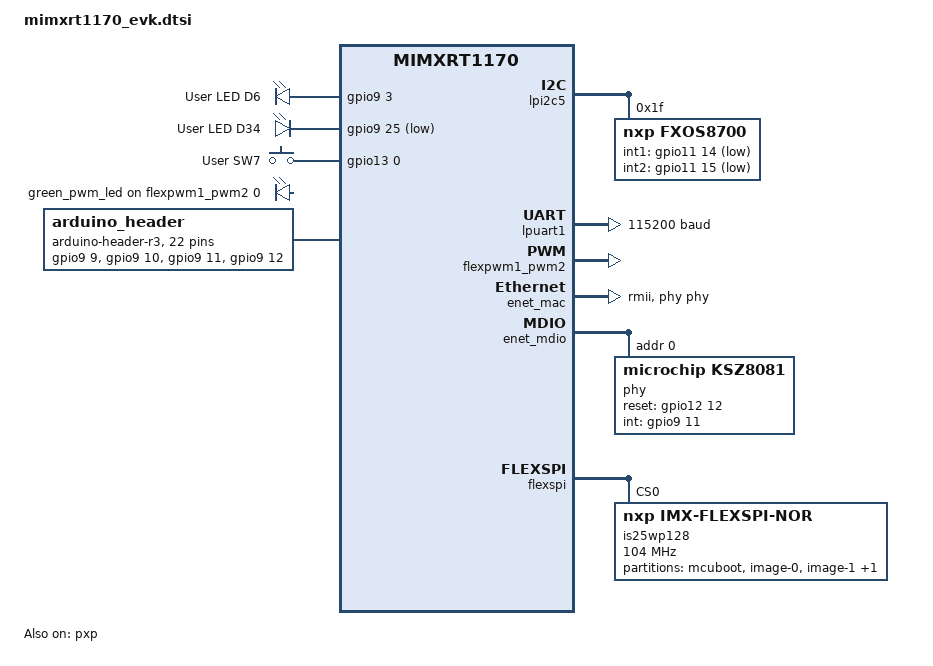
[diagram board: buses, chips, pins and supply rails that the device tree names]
/*
 * Copyright 2021,2023 NXP
 *
 * SPDX-License-Identifier: Apache-2.0
 */

#include "mimxrt1170_evk-pinctrl.dtsi"
#include <nxp/nxp_rt1170.dtsi>
#include <zephyr/dt-bindings/gpio/arduino-header-r3.h>
#include <zephyr/dt-bindings/input/input-event-codes.h>

/ {
	aliases {
		led0 = &green_led;
		led1 = &red_led;
		sw0 = &user_button;
		magn0 = &fxos8700;
		accel0 = &fxos8700;
		sdhc0 = &usdhc1;
		pwm-led0 = &green_pwm_led;
		mcuboot-button0 = &user_button;
	};

	leds {
		compatible = "gpio-leds";

		green_led: led-1 {
			gpios = <&gpio9 3 GPIO_ACTIVE_HIGH>;
			label = "User LED D6";
		};

		red_led: led-2 {
			gpios = <&gpio9 25 GPIO_ACTIVE_LOW>;
			label = "User LED D34";
		};
	};

	gpio_keys {
		compatible = "gpio-keys";

		user_button: button-1 {
			label = "User SW7";
			gpios = <&gpio13 0 GPIO_ACTIVE_HIGH>;
			zephyr,code = <INPUT_KEY_0>;
		};
	};

	pwmleds {
		compatible = "pwm-leds";

		green_pwm_led: green_pwm_led {
			pwms = <&flexpwm1_pwm2 0 PWM_MSEC(20) PWM_POLARITY_NORMAL>;
		};
	};

	arduino_header: connector {
		/* NOTE:
		 * The CM7 has no interrupt numbers for gpio9/gpio11/gpio12, so it isn't possible
		 * to use input interrupts with A0-A5 or D0-D15.
		 * The CM4 does support input interrupts.
		 */
		compatible = "arduino-header-r3";
		#gpio-cells = <2>;
		gpio-map-mask = <0xffffffff 0xffffffc0>;
		gpio-map-pass-thru = <0 0x3f>;
		gpio-map = <ARDUINO_HEADER_R3_A0 0 &gpio9 9 0>,
			   <ARDUINO_HEADER_R3_A1 0 &gpio9 10 0>,
			   <ARDUINO_HEADER_R3_A2 0 &gpio9 11 0>,
			   <ARDUINO_HEADER_R3_A3 0 &gpio9 12 0>,
			   <ARDUINO_HEADER_R3_A4 0 &gpio9 8 0>,
			   <ARDUINO_HEADER_R3_A5 0 &gpio9 7 0>,
			   <ARDUINO_HEADER_R3_D0 0 &gpio11 12 0>,
			   <ARDUINO_HEADER_R3_D1 0 &gpio11 11 0>,
			   <ARDUINO_HEADER_R3_D2 0 &gpio11 13 0>,
			   <ARDUINO_HEADER_R3_D3 0 &gpio9 3 0>,
			   <ARDUINO_HEADER_R3_D4 0 &gpio9 5 0>,
			   <ARDUINO_HEADER_R3_D5 0 &gpio9 4 0>,
			   <ARDUINO_HEADER_R3_D6 0 &gpio8 31 0>,
			   <ARDUINO_HEADER_R3_D7 0 &gpio9 13 0>,
			   <ARDUINO_HEADER_R3_D8 0 &gpio9 6 0>,
			   <ARDUINO_HEADER_R3_D9 0 &gpio9 0 0>,
			   <ARDUINO_HEADER_R3_D10 0 &gpio9 28 0>,
			   <ARDUINO_HEADER_R3_D11 0 &gpio9 29 0>,
			   <ARDUINO_HEADER_R3_D12 0 &gpio9 30 0>,
			   <ARDUINO_HEADER_R3_D13 0 &gpio9 27 0>,
			   <ARDUINO_HEADER_R3_D14 0 &gpio12 4 0>,
			   <ARDUINO_HEADER_R3_D15 0 &gpio12 5 0>;
	};
};

arduino_i2c: &lpi2c5 {
	status = "okay";
	pinctrl-0 = <&pinmux_lpi2c5>;
	pinctrl-names = "default";

	fxos8700: fxos8700@1f {
		compatible = "nxp,fxos8700";
		reg = <0x1f>;

		/* Two zero ohm resistors (R256 and R270) isolate sensor
		 * interrupt gpios from the soc and are unpopulated by default.
		 * Note that if you populate them, they conflict with camera and
		 * ethernet PHY reset signals.
		 */
		int1-gpios = <&gpio11 14 GPIO_ACTIVE_LOW>;
		int2-gpios = <&gpio11 15 GPIO_ACTIVE_LOW>;
	};
};

&lpuart1 {
	status = "okay";
	pinctrl-0 = <&pinmux_lpuart1>;
	pinctrl-1 = <&pinmux_lpuart1_sleep>;
	pinctrl-names = "default", "sleep";
	current-speed = <115200>;
};

arduino_serial: &lpuart2 {
	/* No HW flow control possible for Arduino Header due to missing LPUART2 RTS on D3 */
	pinctrl-0 = <&pinmux_lpuart2>;
	pinctrl-1 = <&pinmux_lpuart2_sleep>;
	pinctrl-names = "default", "sleep";
};

&user_button {
	status = "okay";
};

&green_led {
	status = "okay";
};

&flexpwm1_pwm2 {
	status = "okay";
	pinctrl-0 = <&pinmux_flexpwm1>;
	pinctrl-names = "default";
};

&enet_mac {
	status = "okay";
	pinctrl-0 = <&pinmux_enet>;
	pinctrl-names = "default";
	phy-handle = <&phy>;
	phy-connection-type = "rmii";
	zephyr,random-mac-address;
};

&enet_mdio {
	status = "okay";
	pinctrl-0 = <&pinmux_enet_mdio>;
	pinctrl-names = "default";

	phy: phy@0 {
		compatible = "microchip,ksz8081";
		reg = <0>;
		status = "okay";
		reset-gpios = <&gpio12 12 GPIO_ACTIVE_HIGH>;
		int-gpios = <&gpio9 11 GPIO_ACTIVE_HIGH>;
		microchip,interface-type = "rmii";
	};
};

&enet_ptp_clock {
	status = "okay";
	pinctrl-0 = <&pinmux_ptp>;
	pinctrl-names = "default";
};

&enet1g_mac {
	status = "disabled";
	pinctrl-0 = <&pinmux_enet1g>;
	pinctrl-names = "default";
	phy-handle = <&enet1g_phy>;
	phy-connection-type = "rgmii";
	zephyr,random-mac-address;
};

&enet1g_mdio {
	status = "disabled";
	pinctrl-0 = <&pinmux_enet1g_mdio>;
	pinctrl-names = "default";

	enet1g_phy: phy@1 {
		compatible = "realtek,rtl8211f";
		reg = <1>;
		status = "disabled";
		reset-gpios = <&gpio11 14 GPIO_ACTIVE_HIGH>;
		int-gpios = <&gpio5 13 GPIO_ACTIVE_LOW>;
	};
};

&enet1g_ptp_clock {
	status = "disabled";
	pinctrl-0 = <&pinmux_enet1g_ptp>;
	pinctrl-names = "default";
};

&csi {
	pinctrl-0 = <&pinmux_csi>;
	pinctrl-names = "default";
};

&lpi2c6 {
	pinctrl-0 = <&pinmux_lpi2c6>;
	pinctrl-names = "default";
};

&flexcan3 {
	pinctrl-0 = <&pinmux_flexcan3>;
	pinctrl-names = "default";
};

&lcdif {
	pinctrl-0 = <&pinmux_lcdif>;
	pinctrl-names = "default";
};

&lpi2c1 {
	pinctrl-0 = <&pinmux_lpi2c1>;
	pinctrl-names = "default";
};

arduino_spi: &lpspi1 {
	pinctrl-0 = <&pinmux_lpspi1>;
	pinctrl-names = "default";
};

&lpuart2 {
	pinctrl-0 = <&pinmux_lpuart2>;
	pinctrl-1 = <&pinmux_lpuart2_sleep>;
	pinctrl-names = "default", "sleep";
};

&sai1 {
	pinctrl-0 = <&pinmux_sai1>;
	pinctrl-names = "default";
};

&lpadc1 {
	pinctrl-0 = <&pinmux_lpadc1>;
	pinctrl-names = "default";
};

&flexspi {
	pinctrl-0 = <&pinmux_flexspi1>;
	pinctrl-names = "default";
};

&usdhc1 {
	pinctrl-0 = <&pinmux_usdhc1>;
	pinctrl-1 = <&pinmux_usdhc1_dat3_nopull>;
	pinctrl-names = "default", "nopull";
};

&flexspi {
	status = "okay";
	ahb-prefetch;
	ahb-read-addr-opt;
	rx-clock-source = <1>;
	reg = <0x400cc000 0x4000>, <0x30000000 DT_SIZE_M(16)>;

	is25wp128: is25wp128@0 {
		compatible = "nxp,imx-flexspi-nor";
		size = <DT_SIZE_M(16*8)>;
		reg = <0>;
		spi-max-frequency = <DT_FREQ_M(104)>;
		status = "okay";
		jedec-id = [9d 70 18];
		erase-block-size = <DT_SIZE_K(4)>;
		write-block-size = <1>;

		partitions {
			compatible = "fixed-partitions";
			#address-cells = <1>;
			#size-cells = <1>;

			/*
			 * Partition sizes must be aligned
			 * to the flash memory sector size of 4KB.
			 */
			boot_partition: partition@0 {
				label = "mcuboot";
				reg = <0x00000000 DT_SIZE_K(128)>;
			};

			slot0_partition: partition@20000 {
				label = "image-0";
				reg = <0x00020000 DT_SIZE_M(7)>;
			};

			slot1_partition: partition@720000 {
				label = "image-1";
				reg = <0x00720000 DT_SIZE_M(7)>;
			};

			storage_partition: partition@E20000 {
				label = "storage";
				reg = <0x00E20000 (DT_SIZE_M(2) - DT_SIZE_K(128))>;
			};
		};
	};
};

&pxp {
	status = "okay";
};
